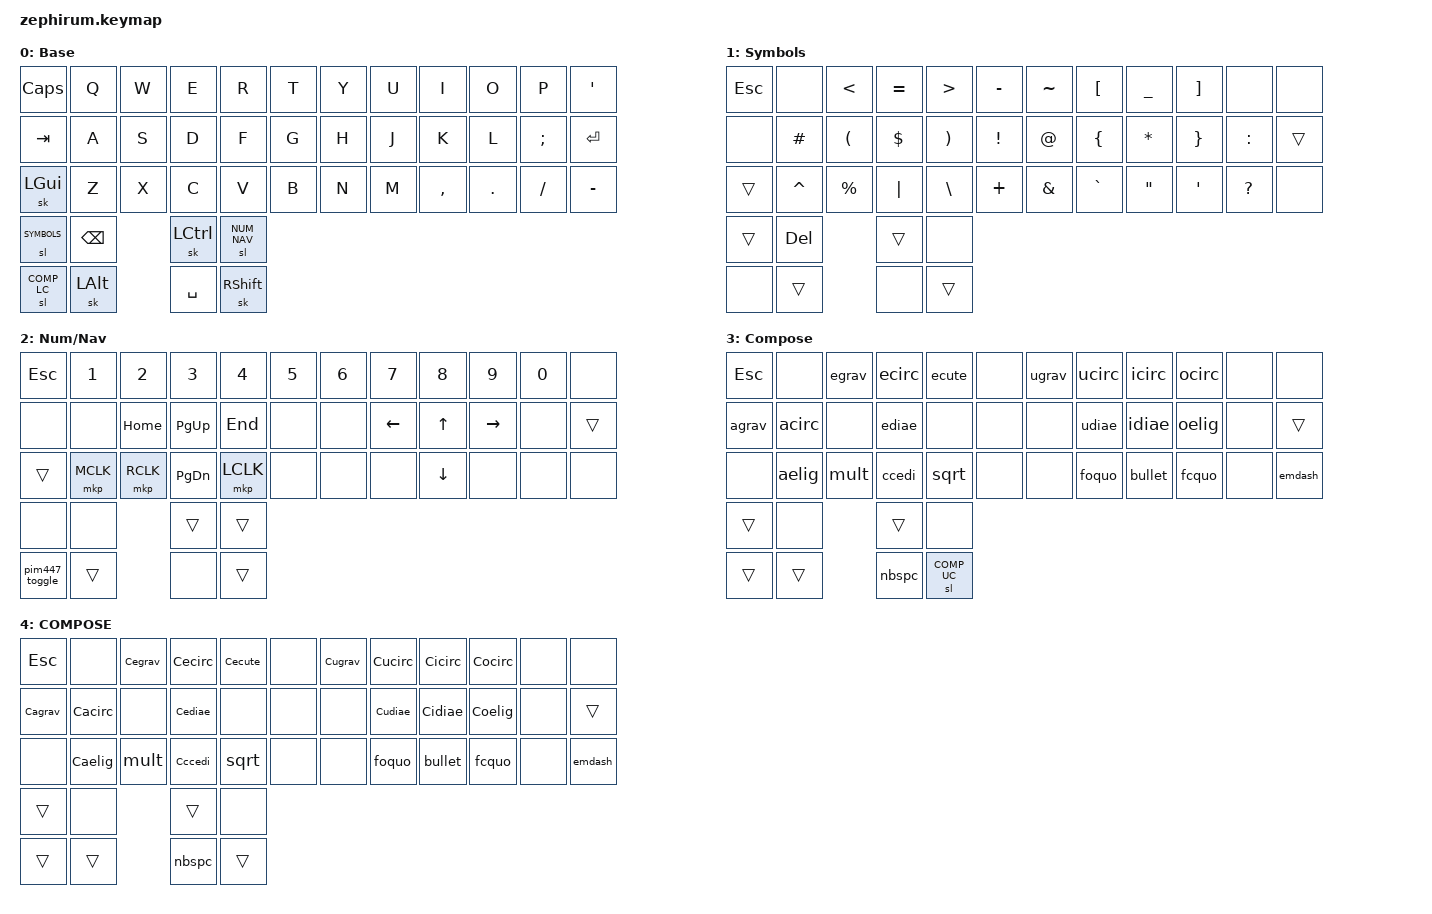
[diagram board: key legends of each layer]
/*
 * Copyright (c) 2021 The ZMK Contributors
 *
 * SPDX-License-Identifier: MIT
 */

#include <behaviors.dtsi>
#include <dt-bindings/zmk/keys.h>
#include <dt-bindings/zmk/bt.h>
#include <dt-bindings/zmk/outputs.h>
#include <dt-bindings/zmk/mouse.h>

#define BASE        0
#define SYMBOLS     1
#define NUM_NAV     2
#define COMP_LC     3
#define COMP_UC     4

#define COMPOSE CAPS

#define cap(a) str("C" ##a)
#define str(a)  #a

#define COMPOSE_MACRO0(name, a, b)                                      \
	name: name {                                                    \
		compatible = "zmk,behavior-macro";                      \
		label = #name;                                          \
		#binding-cells = <0>;                                   \
		bindings = <&kp COMPOSE>, <&kp a>, <&kp b>;             \
	};

#define COMPOSE_MACRO(name, a, b)                                       \
	COMPOSE_MACRO0(name, a, b)                                      \
	                                                                \
	C ## name: C ## name {                                          \
		compatible = "zmk,behavior-macro";                      \
		label = cap(name);                                      \
		#binding-cells = <0>;                                   \
		bindings = <&kp COMPOSE>, <&kp a>, <&sk RSFT>, <&kp b>; \
	};

#define COMPOSE_MACRO2(name, a, b)                                      \
	COMPOSE_MACRO0(name, a, b)                                      \
	                                                                \
	C ## name: C ## name {                                          \
		compatible = "zmk,behavior-macro";                      \
		label = cap(name);                                      \
		#binding-cells = <0>;                                   \
		bindings = <&kp COMPOSE>, <&sk RSFT>, <&kp a>,          \
		                          <&sk RSFT>, <&kp b>;          \
	};

/ {
	behaviors {
		COMPOSE_MACRO(agrav, GRAVE, A)
		COMPOSE_MACRO(acirc, CARET, A)
		COMPOSE_MACRO(egrav, GRAVE, E)
		COMPOSE_MACRO(ecute, SQT,   E)
		COMPOSE_MACRO(ecirc, CARET, E)
		COMPOSE_MACRO(ediae, BSLH,  E)
		COMPOSE_MACRO(icirc, CARET, I)
		COMPOSE_MACRO(idiae, BSLH,  I)
		COMPOSE_MACRO(ocirc, CARET, O)
		COMPOSE_MACRO(ugrav, GRAVE, U)
		COMPOSE_MACRO(ucirc, CARET, U)
		COMPOSE_MACRO(udiae, BSLH,  U)
		COMPOSE_MACRO(ccedi, COMMA, C)

		COMPOSE_MACRO2(aelig, A, E)
		COMPOSE_MACRO2(oelig, O, E)

		COMPOSE_MACRO(nbspc,  SPACE, SPACE)
		COMPOSE_MACRO(foquo,  LT,    LT)
		COMPOSE_MACRO(fcquo,  GT,    GT)
		COMPOSE_MACRO(bullet, DOT,   EQUAL)
		COMPOSE_MACRO(emdash, MINUS, MINUS)
		COMPOSE_MACRO(mult,   X,     X)
		COMPOSE_MACRO(sqrt,   V,     SLASH)
	};

	keymap {
		compatible = "zmk,keymap";

		default_layer {
			label = "Base";

			bindings = <
&kp COMPOSE &kp Q &kp W &kp E &kp R &kp T   &kp Y &kp U &kp I     &kp O   &kp P     &kp SQT
&kp TAB     &kp A &kp S &kp D &kp F &kp G   &kp H &kp J &kp K     &kp L   &kp SEMI  &kp ENTER
&sk LGUI    &kp Z &kp X &kp C &kp V &kp B   &kp N &kp M &kp COMMA &kp DOT &kp SLASH &kp MINUS
&sl SYMBOLS &kp BSPC &sk LCTRL &sl NUM_NAV
&sl COMP_LC &sk LALT &kp SPACE &sk RSHIFT
			>;
		};

		symbols_layer {
			label = "Symbols";
			bindings = <
&kp ESC &none     &kp LT    &kp EQUAL &kp GT   &kp MINUS  &kp TILDE &kp LBKT  &kp UNDER &kp RBKT &none     &none
&none   &kp HASH  &kp LPAR  &kp DLLR  &kp RPAR &kp EXCL	  &kp AT    &kp LBRC  &kp STAR  &kp RBRC &kp COLON &trans
&trans  &kp CARET &kp PRCNT &kp PIPE  &kp BSLH &kp PLUS	  &kp AMPS  &kp GRAVE &kp DQT   &kp SQT  &kp QMARK &none
&trans      &kp DEL  &trans    &none
&none       &trans   &none     &trans
			>;
		};

		num_nav_layer {
			label = "Num/Nav";
			bindings = <
&kp ESC &kp N1    &kp N2    &kp N3    &kp N4    &kp N5  &kp N6 &kp N7   &kp N8   &kp N9    &kp N0 &none
&none   &none     &kp HOME  &kp PG_UP &kp END   &none   &none  &kp LEFT &kp UP   &kp RIGHT &none  &trans
&trans  &mkp MCLK &mkp RCLK &kp PG_DN &mkp LCLK &none   &none  &none    &kp DOWN &none     &none  &none
&none       &none    &trans    &trans
&pim447_toggle &trans   &none     &trans
			>;
		};

		comp_lc_layer {
			label = "Compose";
			bindings = <
&kp ESC &none  &egrav &ecirc &ecute &none  &ugrav &ucirc &icirc  &ocirc &none &none
&agrav  &acirc &none  &ediae &none  &none  &none  &udiae &idiae  &oelig &none &trans
&none   &aelig &mult  &ccedi &sqrt  &none  &none  &foquo &bullet &fcquo &none &emdash
&trans     &none     &trans    &none
&trans     &trans    &nbspc    &sl COMP_UC
>;
		};

		comp_uc_layer {
			label = "COMPOSE";
			bindings = <
&kp ESC &none   &Cegrav &Cecirc &Cecute &none  &Cugrav &Cucirc &Cicirc  &Cocirc &none &none
&Cagrav &Cacirc &none   &Cediae &none   &none  &none   &Cudiae &Cidiae  &Coelig &none &trans
&none   &Caelig &mult   &Cccedi &sqrt   &none  &none   &foquo  &bullet  &fcquo  &none &emdash
&trans     &none     &trans    &none
&trans     &trans    &nbspc    &trans
>;
		};
	};
};
